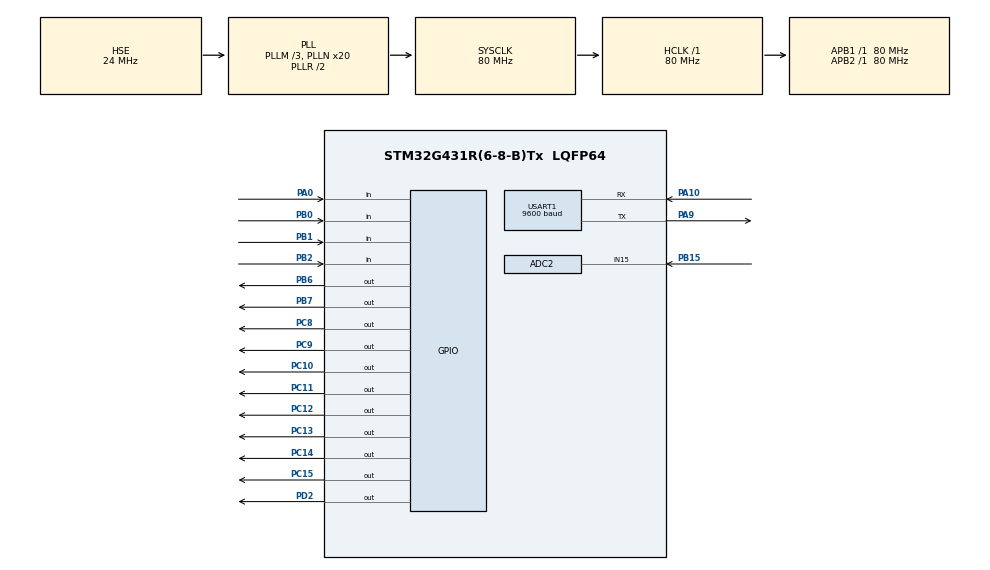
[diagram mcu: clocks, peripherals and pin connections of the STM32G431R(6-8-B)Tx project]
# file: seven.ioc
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ADC2.Channel-0\#ChannelRegularConversion=ADC_CHANNEL_15
ADC2.NbrOfConversionFlag=1
ADC2.OffsetNumber-0\#ChannelRegularConversion=ADC_OFFSET_NONE
ADC2.Rank-0\#ChannelRegularConversion=1
ADC2.SamplingTime-0\#ChannelRegularConversion=ADC_SAMPLETIME_2CYCLES_5
Mcu.Family=STM32G4
Mcu.Name=STM32G431R(6-8-B)Tx
Mcu.Package=LQFP64
NVIC.PriorityGroup=NVIC_PRIORITYGROUP_4
NVIC.TIM2_IRQn=true\:0\:0\:false\:false\:true\:true\:true
NVIC.TIM3_IRQn=true\:0\:0\:false\:false\:true\:true\:true
NVIC.USART1_IRQn=true\:0\:0\:false\:false\:true\:true\:true
PA0.GPIO_PuPd=GPIO_PULLUP
PA0.Signal=GPIO_Input
PA10.Mode=Asynchronous
PA10.Signal=USART1_RX
PA13.Mode=Serial_Wire
PA13.Signal=SYS_JTMS-SWDIO
PA14.Mode=Serial_Wire
PA14.Signal=SYS_JTCK-SWCLK
PA9.Mode=Asynchronous
PA9.Signal=USART1_TX
PB0.GPIO_PuPd=GPIO_PULLUP
PB0.Signal=GPIO_Input
PB1.GPIO_PuPd=GPIO_PULLUP
PB1.Signal=GPIO_Input
PB15.Mode=IN15-Single-Ended
PB15.Signal=ADC2_IN15
PB2.GPIO_PuPd=GPIO_PULLUP
PB2.Signal=GPIO_Input
PB6.Signal=GPIO_Output
PB7.Signal=GPIO_Output
PC10.PinState=GPIO_PIN_SET
PC10.Signal=GPIO_Output
PC11.PinState=GPIO_PIN_SET
PC11.Signal=GPIO_Output
PC12.PinState=GPIO_PIN_SET
PC12.Signal=GPIO_Output
PC13.PinState=GPIO_PIN_SET
PC13.Signal=GPIO_Output
PC14-OSC32_IN.PinState=GPIO_PIN_SET
PC14-OSC32_IN.Signal=GPIO_Output
PC15-OSC32_OUT.PinState=GPIO_PIN_SET
PC15-OSC32_OUT.Signal=GPIO_Output
PC8.PinState=GPIO_PIN_SET
PC8.Signal=GPIO_Output
PC9.PinState=GPIO_PIN_SET
PC9.Signal=GPIO_Output
PD2.Signal=GPIO_Output
PF0-OSC_IN.Mode=HSE-External-Oscillator
PF0-OSC_IN.Signal=RCC_OSC_IN
PF1-OSC_OUT.Mode=HSE-External-Oscillator
PF1-OSC_OUT.Signal=RCC_OSC_OUT
ProjectManager.HeapSize=0x200
ProjectManager.StackSize=0x400
ProjectManager.TargetToolchain=MDK-ARM V5
RCC.ADC12Freq_Value=80000000
RCC.AHBFreq_Value=80000000
RCC.APB1Freq_Value=80000000
RCC.APB1TimFreq_Value=80000000
RCC.APB2Freq_Value=80000000
RCC.APB2TimFreq_Value=80000000
RCC.CortexFreq_Value=80000000
RCC.EXTERNAL_CLOCK_VALUE=12288000
RCC.HCLKFreq_Value=80000000
RCC.HSE_VALUE=24000000
RCC.HSI48_VALUE=48000000
RCC.HSI_VALUE=16000000
RCC.LSE_VALUE=32768
RCC.PLLM=RCC_PLLM_DIV3
RCC.PLLN=20
RCC.PLLSourceVirtual=RCC_PLLSOURCE_HSE
RCC.SYSCLKFreq_VALUE=80000000
RCC.SYSCLKSource=RCC_SYSCLKSOURCE_PLLCLK
RCC.USBFreq_Value=80000000
RCC.VCOOutputFreq_Value=160000000
TIM2.PeriodNoDither=10000-1
TIM2.Prescaler=80-1
TIM3.PeriodNoDither=2000-1
TIM3.Prescaler=8000-1
USART1.BaudRate=9600
USART1.VirtualMode-Asynchronous=VM_ASYNC
USART1.WordLength=WORDLENGTH_8B
VP_SYS_VS_DBSignals.Mode=DisableDeadBatterySignals
VP_TIM2_VS_ClockSourceINT.Mode=Internal
VP_TIM3_VS_ClockSourceINT.Mode=Internal
board=custom

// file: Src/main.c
/* USER CODE BEGIN Header */
/**
  ******************************************************************************
  * @file           : main.c
  * @brief          : Main program body
  ******************************************************************************
  * @attention
  *
  * <h2><center>&copy; Copyright (c) 2024 STMicroelectronics.
  * All rights reserved.</center></h2>
  *
  * This software component is licensed by ST under BSD 3-Clause license,
  * the "License"; You may not use this file except in compliance with the
  * License. You may obtain a copy of the License at:
  *                        opensource.org/licenses/BSD-3-Clause
  *
  ******************************************************************************
  */
/* USER CODE END Header */

#include "main.h"
#include "adc.h"
#include "tim.h"
#include "usart.h"
#include "gpio.h"

/* USER CODE BEGIN Includes */
#include "lcd.h"
#include "i2c_hal.h"
#include "myfile.h"
/* USER CODE END Includes */

/* USER CODE BEGIN PV */

//初始阈值
uint8_t threshold[3];

//LCD显示界面
uint8_t menu=0;

//阈值改变处
int8_t change_thre=0;

char str[30];

//液位高度，R37输出电压
float height;
float v_37;

//液位等级
uint8_t level=10;
uint8_t level_flg=0;	//液位等级变化标志

uint8_t check_flg=0;	//通讯状态标志

//串口接收发送缓冲区
char TXbuff[30],RXbuff[30];
uint8_t Rxdat,BufIndex;

//LED1，LED2，LED3的电平状态
uint8_t led1_sta=1;
uint8_t led2_sta=1;
uint8_t led3_sta=1;

//闪烁次数
uint8_t shrink_count_led2,shrink_count_led3;

/* USER CODE END PV */

void SystemClock_Config(void);

int main(void)
{

  /* MCU Configuration--------------------------------------------------------*/

  /* Reset of all peripherals, Initializes the Flash interface and the Systick. */
  HAL_Init();

  /* Configure the system clock */
  SystemClock_Config();

  /* Initialize all configured peripherals */
  MX_GPIO_Init();
  MX_ADC2_Init();
  MX_TIM2_Init();
  MX_USART1_UART_Init();
  MX_TIM3_Init();
  /* USER CODE BEGIN 2 */
	sys_init();
  /* USER CODE END 2 */

  /* Infinite loop */
  while (1)
  {

    /* USER CODE BEGIN 3 */
		sys_work();
  }
  /* USER CODE END 3 */
}

void SystemClock_Config(void)
{
  RCC_OscInitTypeDef RCC_OscInitStruct = {0};
  RCC_ClkInitTypeDef RCC_ClkInitStruct = {0};
  RCC_PeriphCLKInitTypeDef PeriphClkInit = {0};

  /** Configure the main internal regulator output voltage
  */
  HAL_PWREx_ControlVoltageScaling(PWR_REGULATOR_VOLTAGE_SCALE1);
  /** Initializes the CPU, AHB and APB busses clocks
  */
  RCC_OscInitStruct.OscillatorType = RCC_OSCILLATORTYPE_HSE;
  RCC_OscInitStruct.HSEState = RCC_HSE_ON;
  RCC_OscInitStruct.PLL.PLLState = RCC_PLL_ON;
  RCC_OscInitStruct.PLL.PLLSource = RCC_PLLSOURCE_HSE;
  RCC_OscInitStruct.PLL.PLLM = RCC_PLLM_DIV3;
  RCC_OscInitStruct.PLL.PLLN = 20;
  RCC_OscInitStruct.PLL.PLLP = RCC_PLLP_DIV2;
  RCC_OscInitStruct.PLL.PLLQ = RCC_PLLQ_DIV2;
  RCC_OscInitStruct.PLL.PLLR = RCC_PLLR_DIV2;
  if (HAL_RCC_OscConfig(&RCC_OscInitStruct) != HAL_OK)
  {
    Error_Handler();
  }
  /** Initializes the CPU, AHB and APB busses clocks
  */
  RCC_ClkInitStruct.ClockType = RCC_CLOCKTYPE_HCLK|RCC_CLOCKTYPE_SYSCLK
                              |RCC_CLOCKTYPE_PCLK1|RCC_CLOCKTYPE_PCLK2;
  RCC_ClkInitStruct.SYSCLKSource = RCC_SYSCLKSOURCE_PLLCLK;
  RCC_ClkInitStruct.AHBCLKDivider = RCC_SYSCLK_DIV1;
  RCC_ClkInitStruct.APB1CLKDivider = RCC_HCLK_DIV1;
  RCC_ClkInitStruct.APB2CLKDivider = RCC_HCLK_DIV1;

  if (HAL_RCC_ClockConfig(&RCC_ClkInitStruct, FLASH_LATENCY_3) != HAL_OK)
  {
    Error_Handler();
  }
  /** Initializes the peripherals clocks
  */
  PeriphClkInit.PeriphClockSelection = RCC_PERIPHCLK_USART1|RCC_PERIPHCLK_ADC12;
  PeriphClkInit.Usart1ClockSelection = RCC_USART1CLKSOURCE_PCLK2;
  PeriphClkInit.Adc12ClockSelection = RCC_ADC12CLKSOURCE_SYSCLK;
  if (HAL_RCCEx_PeriphCLKConfig(&PeriphClkInit) != HAL_OK)
  {
    Error_Handler();
  }
}

void Error_Handler(void)
{
}

/************************ (C) COPYRIGHT STMicroelectronics *****END OF FILE****/
